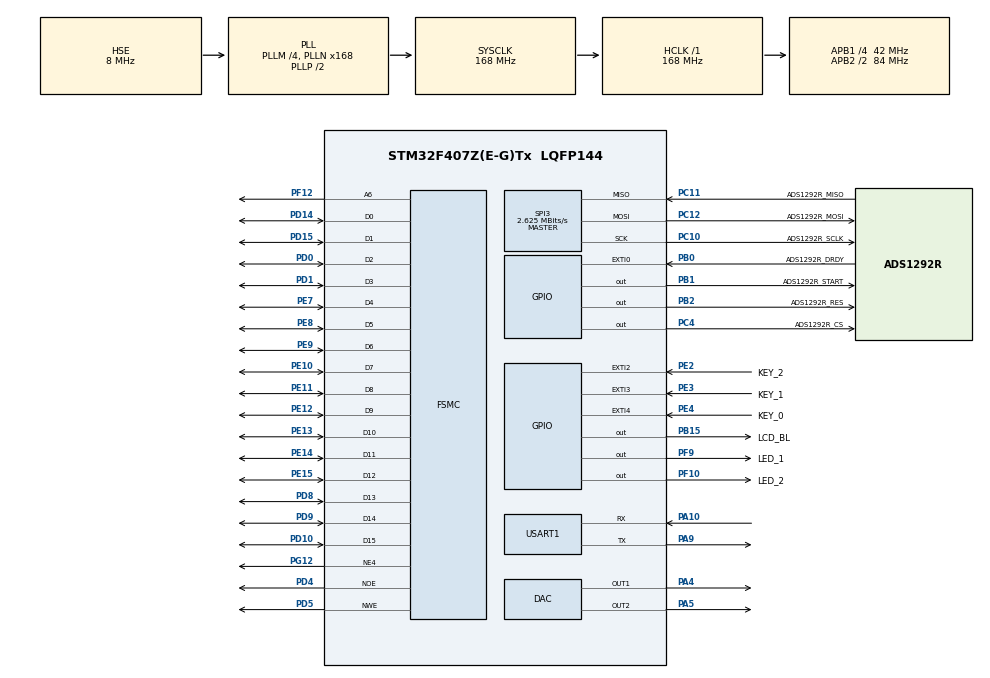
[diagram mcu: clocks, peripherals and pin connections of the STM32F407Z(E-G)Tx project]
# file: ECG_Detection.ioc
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ADC1.Channel-0\#ChannelRegularConversion=ADC_CHANNEL_5
ADC1.ContinuousConvMode=DISABLE
ADC1.DMAContinuousRequests=ENABLE
ADC1.ExternalTrigConv=ADC_EXTERNALTRIGCONV_T2_TRGO
ADC1.InjNumberOfConversion=0
ADC1.NbrOfConversion=1
ADC1.NbrOfConversionFlag=1
ADC1.Rank-0\#ChannelRegularConversion=1
ADC1.SamplingTime-0\#ChannelRegularConversion=ADC_SAMPLETIME_112CYCLES
ADC1.master=1
DAC.DAC_Trigger=DAC_TRIGGER_T6_TRGO
DAC.WaveGeneration=DISABLE
Dma.ADC1.3.Direction=DMA_PERIPH_TO_MEMORY
Dma.ADC1.3.FIFOMode=DMA_FIFOMODE_DISABLE
Dma.ADC1.3.Instance=DMA2_Stream0
Dma.ADC1.3.MemDataAlignment=DMA_MDATAALIGN_HALFWORD
Dma.ADC1.3.MemInc=DMA_MINC_ENABLE
Dma.ADC1.3.Mode=DMA_CIRCULAR
Dma.ADC1.3.PeriphDataAlignment=DMA_PDATAALIGN_HALFWORD
Dma.ADC1.3.PeriphInc=DMA_PINC_DISABLE
Dma.ADC1.3.Priority=DMA_PRIORITY_HIGH
Dma.DAC1.2.Direction=DMA_MEMORY_TO_PERIPH
Dma.DAC1.2.FIFOMode=DMA_FIFOMODE_DISABLE
Dma.DAC1.2.Instance=DMA1_Stream5
Dma.DAC1.2.MemDataAlignment=DMA_MDATAALIGN_HALFWORD
Dma.DAC1.2.MemInc=DMA_MINC_ENABLE
Dma.DAC1.2.Mode=DMA_CIRCULAR
Dma.DAC1.2.PeriphDataAlignment=DMA_PDATAALIGN_HALFWORD
Dma.DAC1.2.PeriphInc=DMA_PINC_DISABLE
Dma.DAC1.2.Priority=DMA_PRIORITY_LOW
Dma.Request0=USART1_RX
Dma.Request1=USART1_TX
Dma.Request2=DAC1
Dma.Request3=ADC1
Dma.USART1_RX.0.Direction=DMA_PERIPH_TO_MEMORY
Dma.USART1_RX.0.FIFOMode=DMA_FIFOMODE_DISABLE
Dma.USART1_RX.0.Instance=DMA2_Stream2
Dma.USART1_RX.0.MemDataAlignment=DMA_MDATAALIGN_BYTE
Dma.USART1_RX.0.MemInc=DMA_MINC_ENABLE
Dma.USART1_RX.0.Mode=DMA_NORMAL
Dma.USART1_RX.0.PeriphDataAlignment=DMA_PDATAALIGN_BYTE
Dma.USART1_RX.0.PeriphInc=DMA_PINC_DISABLE
Dma.USART1_RX.0.Priority=DMA_PRIORITY_VERY_HIGH
Dma.USART1_TX.1.Direction=DMA_MEMORY_TO_PERIPH
Dma.USART1_TX.1.FIFOMode=DMA_FIFOMODE_DISABLE
Dma.USART1_TX.1.Instance=DMA2_Stream7
Dma.USART1_TX.1.MemDataAlignment=DMA_MDATAALIGN_BYTE
Dma.USART1_TX.1.MemInc=DMA_MINC_ENABLE
Dma.USART1_TX.1.Mode=DMA_NORMAL
Dma.USART1_TX.1.PeriphDataAlignment=DMA_PDATAALIGN_BYTE
Dma.USART1_TX.1.PeriphInc=DMA_PINC_DISABLE
Dma.USART1_TX.1.Priority=DMA_PRIORITY_VERY_HIGH
FREERTOS.Tasks01=defaultTask,24,128,StartDefaultTask,Default,NULL,Dynamic,NULL,NULL;ECG,24,1024,ECGTask,As weak,NULL,Dynamic,NULL,NULL
FSMC.BusTurnAroundDuration1=0
FSMC.DataSetupTime1=60
FSMC.ExtendedAddressSetupTime1=9
FSMC.ExtendedBusTurnAroundDuration1=0
FSMC.ExtendedDataSetupTime1=8
FSMC.ExtendedMode1=FSMC_EXTENDED_MODE_ENABLE
Mcu.Family=STM32F4
Mcu.Name=STM32F407Z(E-G)Tx
Mcu.Package=LQFP144
NVIC.DMA1_Stream5_IRQn=true\:5\:0\:false\:false\:true\:true\:false\:true\:true
NVIC.DMA2_Stream0_IRQn=true\:5\:0\:false\:false\:true\:true\:false\:true\:true
NVIC.DMA2_Stream2_IRQn=true\:5\:0\:false\:false\:true\:true\:false\:true\:true
NVIC.DMA2_Stream7_IRQn=true\:5\:0\:false\:false\:true\:true\:false\:true\:true
NVIC.EXTI0_IRQn=true\:5\:0\:false\:false\:true\:true\:true\:true\:true
NVIC.PriorityGroup=NVIC_PRIORITYGROUP_4
NVIC.SPI3_IRQn=true\:5\:0\:false\:false\:true\:true\:true\:true\:true
NVIC.TIM1_UP_TIM10_IRQn=true\:15\:0\:false\:false\:true\:false\:false\:true\:true
NVIC.TimeBase=TIM1_UP_TIM10_IRQn
NVIC.TimeBaseIP=TIM1
NVIC.USART1_IRQn=true\:5\:0\:false\:false\:true\:true\:true\:true\:true
PA10.GPIO_PuPd=GPIO_PULLUP
PA10.Mode=Asynchronous
PA10.Signal=USART1_RX
PA13.Mode=Serial_Wire
PA13.Signal=SYS_JTMS-SWDIO
PA14.Mode=Serial_Wire
PA14.Signal=SYS_JTCK-SWCLK
PA4.Signal=COMP_DAC1_group
PA5.Signal=SharedAnalog_PA5
PA9.GPIO_PuPd=GPIO_PULLUP
PA9.Mode=Asynchronous
PA9.Signal=USART1_TX
PB0.GPIO_Label=ADS1292R_DRDY
PB0.GPIO_ModeDefaultEXTI=GPIO_MODE_IT_FALLING
PB0.GPIO_PuPd=GPIO_PULLUP
PB0.Signal=GPXTI0
PB1.GPIO_Label=ADS1292R_START
PB1.Signal=GPIO_Output
PB15.GPIO_Label=LCD_BL
PB15.GPIO_PuPd=GPIO_PULLUP
PB15.GPIO_Speed=GPIO_SPEED_FREQ_HIGH
PB15.Signal=GPIO_Output
PB2.GPIO_Label=ADS1292R_RES
PB2.Signal=GPIO_Output
PC10.GPIO_Label=ADS1292R_SCLK
PC10.GPIO_PuPd=GPIO_NOPULL
PC10.GPIO_Speed=GPIO_SPEED_FREQ_MEDIUM
PC10.Mode=Full_Duplex_Master
PC10.Signal=SPI3_SCK
PC11.GPIO_Label=ADS1292R_MISO
PC11.GPIO_PuPd=GPIO_NOPULL
PC11.GPIO_Speed=GPIO_SPEED_FREQ_MEDIUM
PC11.Mode=Full_Duplex_Master
PC11.Signal=SPI3_MISO
PC12.GPIO_Label=ADS1292R_MOSI
PC12.GPIO_PuPd=GPIO_NOPULL
PC12.GPIO_Speed=GPIO_SPEED_FREQ_MEDIUM
PC12.Mode=Full_Duplex_Master
PC12.Signal=SPI3_MOSI
PC14-OSC32_IN.Mode=LSE-External-Oscillator
PC14-OSC32_IN.Signal=RCC_OSC32_IN
PC15-OSC32_OUT.Mode=LSE-External-Oscillator
PC15-OSC32_OUT.Signal=RCC_OSC32_OUT
PC4.GPIO_Label=ADS1292R_CS
PC4.GPIO_PuPd=GPIO_PULLUP
PC4.GPIO_Speed=GPIO_SPEED_FREQ_HIGH
PC4.Signal=GPIO_Output
PD0.Signal=FSMC_D2_DA2
PD1.Signal=FSMC_D3_DA3
PD10.Signal=FSMC_D15_DA15
PD14.Signal=FSMC_D0_DA0
PD15.Signal=FSMC_D1_DA1
PD4.Signal=FSMC_NOE
PD5.Signal=FSMC_NWE
PD8.Signal=FSMC_D13_DA13
PD9.Signal=FSMC_D14_DA14
PE10.Signal=FSMC_D7_DA7
PE11.Signal=FSMC_D8_DA8
PE12.Signal=FSMC_D9_DA9
PE13.Signal=FSMC_D10_DA10
PE14.Signal=FSMC_D11_DA11
PE15.Signal=FSMC_D12_DA12
PE2.GPIO_Label=KEY_2
PE2.GPIO_ModeDefaultEXTI=GPIO_MODE_IT_FALLING
PE2.GPIO_PuPd=GPIO_PULLUP
PE2.Signal=GPXTI2
PE3.GPIO_Label=KEY_1
PE3.GPIO_ModeDefaultEXTI=GPIO_MODE_IT_FALLING
PE3.GPIO_PuPd=GPIO_PULLUP
PE3.Signal=GPXTI3
PE4.GPIO_Label=KEY_0
PE4.GPIO_ModeDefaultEXTI=GPIO_MODE_IT_FALLING
PE4.GPIO_PuPd=GPIO_PULLUP
PE4.Signal=GPXTI4
PE7.Signal=FSMC_D4_DA4
PE8.Signal=FSMC_D5_DA5
PE9.Signal=FSMC_D6_DA6
PF10.GPIO_Label=LED_2
PF10.Signal=GPIO_Output
PF12.Signal=FSMC_A6
PF9.GPIO_Label=LED_1
PF9.Signal=GPIO_Output
PG12.Mode=NorPsramChipSelect4_1
PG12.Signal=FSMC_NE4
PH0-OSC_IN.Mode=HSE-External-Oscillator
PH0-OSC_IN.Signal=RCC_OSC_IN
PH1-OSC_OUT.Mode=HSE-External-Oscillator
PH1-OSC_OUT.Signal=RCC_OSC_OUT
ProjectManager.HeapSize=0x200
ProjectManager.StackSize=0x400
ProjectManager.TargetToolchain=Makefile
RCC.48MHZClocksFreq_Value=84000000
RCC.AHBFreq_Value=168000000
RCC.APB1CLKDivider=RCC_HCLK_DIV4
RCC.APB1Freq_Value=42000000
RCC.APB1TimFreq_Value=84000000
RCC.APB2CLKDivider=RCC_HCLK_DIV2
RCC.APB2Freq_Value=84000000
RCC.APB2TimFreq_Value=168000000
RCC.CortexFreq_Value=168000000
RCC.HCLKFreq_Value=168000000
RCC.HSE_VALUE=8000000
RCC.HSI_VALUE=16000000
RCC.PLLM=4
RCC.PLLN=168
RCC.PLLSourceVirtual=RCC_PLLSOURCE_HSE
RCC.SYSCLKFreq_VALUE=168000000
RCC.SYSCLKSource=RCC_SYSCLKSOURCE_PLLCLK
RCC.VCOOutputFreq_Value=336000000
SH.COMP_DAC1_group.0=DAC_OUT1,DAC_OUT1
SH.FSMC_A6.0=FSMC_A6,A6_1
SH.FSMC_D0_DA0.0=FSMC_D0,16b-d1
SH.FSMC_D10_DA10.0=FSMC_D10,16b-d1
SH.FSMC_D11_DA11.0=FSMC_D11,16b-d1
SH.FSMC_D12_DA12.0=FSMC_D12,16b-d1
SH.FSMC_D13_DA13.0=FSMC_D13,16b-d1
SH.FSMC_D14_DA14.0=FSMC_D14,16b-d1
SH.FSMC_D15_DA15.0=FSMC_D15,16b-d1
SH.FSMC_D1_DA1.0=FSMC_D1,16b-d1
SH.FSMC_D2_DA2.0=FSMC_D2,16b-d1
SH.FSMC_D3_DA3.0=FSMC_D3,16b-d1
SH.FSMC_D4_DA4.0=FSMC_D4,16b-d1
SH.FSMC_D5_DA5.0=FSMC_D5,16b-d1
SH.FSMC_D6_DA6.0=FSMC_D6,16b-d1
SH.FSMC_D7_DA7.0=FSMC_D7,16b-d1
SH.FSMC_D8_DA8.0=FSMC_D8,16b-d1
SH.FSMC_D9_DA9.0=FSMC_D9,16b-d1
SH.FSMC_NOE.0=FSMC_NOE,Lcd1
SH.FSMC_NWE.0=FSMC_NWE,Lcd1
SH.SharedAnalog_PA5.0=DAC_OUT2,DAC_OUT2
SH.SharedAnalog_PA5.1=ADC1_IN5,IN5
SPI3.BaudRatePrescaler=SPI_BAUDRATEPRESCALER_16
SPI3.CLKPhase=SPI_PHASE_2EDGE
SPI3.CalculateBaudRate=2.625 MBits/s
SPI3.Direction=SPI_DIRECTION_2LINES
SPI3.Mode=SPI_MODE_MASTER
SPI3.VirtualType=VM_MASTER
STMicroelectronics.X-CUBE-ALGOBUILD.1.4.0.LibraryCcDSPOoLibraryJjDSPOoLibrary=true
TIM2.Period=9
TIM2.Prescaler=83
TIM2.TIM_MasterOutputTrigger=TIM_TRGO_UPDATE
TIM6.Period=9
TIM6.Prescaler=83
TIM6.TIM_MasterOutputTrigger=TIM_TRGO_UPDATE
USART1.VirtualMode=VM_ASYNC
VP_FREERTOS_VS_CMSIS_V2.Mode=CMSIS_V2
VP_STMicroelectronics.X-CUBE-ALGOBUILD_VS_DSPOoLibraryJjLibrary_1.4.0_1.4.0.Mode=DSPOoLibraryJjLibrary
VP_SYS_VS_tim1.Mode=TIM1
VP_TIM2_VS_ClockSourceINT.Mode=Internal
VP_TIM6_VS_ClockSourceINT.Mode=Enable_Timer
board=custom

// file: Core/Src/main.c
/* USER CODE BEGIN Header */
/**
 ******************************************************************************
 * @file           : main.c
 * @brief          : Main program body
 ******************************************************************************
 * @attention
 *
 * Copyright (c) 2024 STMicroelectronics.
 * All rights reserved.
 *
 * This software is licensed under terms that can be found in the LICENSE file
 * in the root directory of this software component.
 * If no LICENSE file comes with this software, it is provided AS-IS.
 *
 ******************************************************************************
 */
/* USER CODE END Header */
#include "main.h"
#include "cmsis_os.h"
#include "adc.h"
#include "dac.h"
#include "dma.h"
#include "spi.h"
#include "tim.h"
#include "usart.h"
#include "gpio.h"
#include "fsmc.h"

/* USER CODE BEGIN Includes */
#include "lcd.h"
#include "ads1292r.h"
#include "bsp_dwt.h"
/* USER CODE END Includes */

/* USER CODE BEGIN PTD */
uint8_t txData[] = "Hello SPI"; // 发送的数据
uint8_t rxData[sizeof(txData)]; // 接收缓冲区
uint8_t txSize = sizeof(txData);
HAL_StatusTypeDef status;
/* USER CODE END PTD */

/* USER CODE BEGIN PV */
uint8_t key_mode = 0; // 按键切换模式
uint8_t ads1292_flag = 0;
/* USER CODE END PV */

void SystemClock_Config(void);
void MX_FREERTOS_Init(void);
/* USER CODE BEGIN PFP */
void HAL_GPIO_EXTI_Callback(uint16_t GPIO_Pin);
/* USER CODE END PFP */

int main(void)
{

  /* MCU Configuration--------------------------------------------------------*/

  /* Reset of all peripherals, Initializes the Flash interface and the Systick. */
  HAL_Init();

  /* Configure the system clock */
  SystemClock_Config();

  /* Initialize all configured peripherals */
  MX_GPIO_Init();
  MX_DMA_Init();
  MX_USART1_UART_Init();
  MX_FSMC_Init();
  MX_DAC_Init();
  MX_ADC1_Init();
  MX_TIM6_Init();
  MX_TIM2_Init();
  MX_SPI3_Init();
  /* USER CODE BEGIN 2 */
  TFTLCD_Init();
  DWT_Init(168);
  ADS1292R_Init();
  ADS1292R_Work();
  /* USER CODE END 2 */

  /* Init scheduler */
  osKernelInitialize();

  /* Call init function for freertos objects (in cmsis_os2.c) */
  MX_FREERTOS_Init();

  /* Start scheduler */
  osKernelStart();

  /* We should never get here as control is now taken by the scheduler */

  /* Infinite loop */
  /* USER CODE BEGIN WHILE */

  while (1)
  {
    // // 清空接收缓冲区
    // memset(rxData, 0, sizeof(rxData));

    // // 测试 SPI 发送与接收
    // status = HAL_SPI_TransmitReceive(&hspi3, txData, rxData, txSize, HAL_MAX_DELAY);

    // HAL_Delay(1);
    // device_id = ADS1292_ReadDeviceID();
    // if (device_id == 0x73)
    // {
    //   break;
    // }
    /* USER CODE END WHILE */

  }
}

void SystemClock_Config(void)
{
  RCC_OscInitTypeDef RCC_OscInitStruct = {0};
  RCC_ClkInitTypeDef RCC_ClkInitStruct = {0};

  /** Configure the main internal regulator output voltage
  */
  __HAL_RCC_PWR_CLK_ENABLE();
  __HAL_PWR_VOLTAGESCALING_CONFIG(PWR_REGULATOR_VOLTAGE_SCALE1);

  /** Initializes the RCC Oscillators according to the specified parameters
  * in the RCC_OscInitTypeDef structure.
  */
  RCC_OscInitStruct.OscillatorType = RCC_OSCILLATORTYPE_HSE;
  RCC_OscInitStruct.HSEState = RCC_HSE_ON;
  RCC_OscInitStruct.PLL.PLLState = RCC_PLL_ON;
  RCC_OscInitStruct.PLL.PLLSource = RCC_PLLSOURCE_HSE;
  RCC_OscInitStruct.PLL.PLLM = 4;
  RCC_OscInitStruct.PLL.PLLN = 168;
  RCC_OscInitStruct.PLL.PLLP = RCC_PLLP_DIV2;
  RCC_OscInitStruct.PLL.PLLQ = 4;
  if (HAL_RCC_OscConfig(&RCC_OscInitStruct) != HAL_OK)
  {
    Error_Handler();
  }

  /** Initializes the CPU, AHB and APB buses clocks
  */
  RCC_ClkInitStruct.ClockType = RCC_CLOCKTYPE_HCLK|RCC_CLOCKTYPE_SYSCLK
                              |RCC_CLOCKTYPE_PCLK1|RCC_CLOCKTYPE_PCLK2;
  RCC_ClkInitStruct.SYSCLKSource = RCC_SYSCLKSOURCE_PLLCLK;
  RCC_ClkInitStruct.AHBCLKDivider = RCC_SYSCLK_DIV1;
  RCC_ClkInitStruct.APB1CLKDivider = RCC_HCLK_DIV4;
  RCC_ClkInitStruct.APB2CLKDivider = RCC_HCLK_DIV2;

  if (HAL_RCC_ClockConfig(&RCC_ClkInitStruct, FLASH_LATENCY_5) != HAL_OK)
  {
    Error_Handler();
  }
}

/* USER CODE BEGIN 4 */
void HAL_GPIO_EXTI_Callback(uint16_t GPIO_Pin)
{
  if (GPIO_Pin == ADS1292R_DRDY_Pin)
  {
    if (ads1292_flag == 0)
      ads1292_flag = 1;
  }
  else if (GPIO_Pin == KEY_0_Pin)
  {
    key_mode = 0;
  }
  else if (GPIO_Pin == KEY_1_Pin)
  {
    key_mode = 1;
  }
  else if (GPIO_Pin == KEY_2_Pin)
  {
    key_mode = 2;
  }
}
/* USER CODE END 4 */

void HAL_TIM_PeriodElapsedCallback(TIM_HandleTypeDef *htim)
{
  if (htim->Instance == TIM1) {
    HAL_IncTick();
  }
}

void Error_Handler(void)
{
  __disable_irq();
  while (1)
  {
  }
}

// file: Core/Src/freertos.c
/* USER CODE BEGIN Header */
/**
 ******************************************************************************
 * File Name          : freertos.c
 * Description        : Code for freertos applications
 ******************************************************************************
 * @attention
 *
 * Copyright (c) 2024 STMicroelectronics.
 * All rights reserved.
 *
 * This software is licensed under terms that can be found in the LICENSE file
 * in the root directory of this software component.
 * If no LICENSE file comes with this software, it is provided AS-IS.
 *
 ******************************************************************************
 */
/* USER CODE END Header */

#include "FreeRTOS.h"
#include "task.h"
#include "main.h"
#include "cmsis_os.h"

/* Definitions for defaultTask */
osThreadId_t defaultTaskHandle;
const osThreadAttr_t defaultTask_attributes = {
  .name = "defaultTask",
  .stack_size = 128 * 4,
  .priority = (osPriority_t) osPriorityNormal,
};
/* Definitions for ECG */
osThreadId_t ECGHandle;
const osThreadAttr_t ECG_attributes = {
  .name = "ECG",
  .stack_size = 1024 * 4,
  .priority = (osPriority_t) osPriorityNormal,
};

void StartDefaultTask(void *argument);
void ECGTask(void *argument);

void MX_FREERTOS_Init(void); /* (MISRA C 2004 rule 8.1) */

void MX_FREERTOS_Init(void) {

  /* Create the thread(s) */
  /* creation of defaultTask */
  defaultTaskHandle = osThreadNew(StartDefaultTask, NULL, &defaultTask_attributes);

  /* creation of ECG */
  ECGHandle = osThreadNew(ECGTask, NULL, &ECG_attributes);

}

void StartDefaultTask(void *argument)
{
  for (;;)
  {
    osDelay(1);
  }
}

__weak void ECGTask(void *argument)
{
  for(;;)
  {
    osDelay(1);
  }
}
